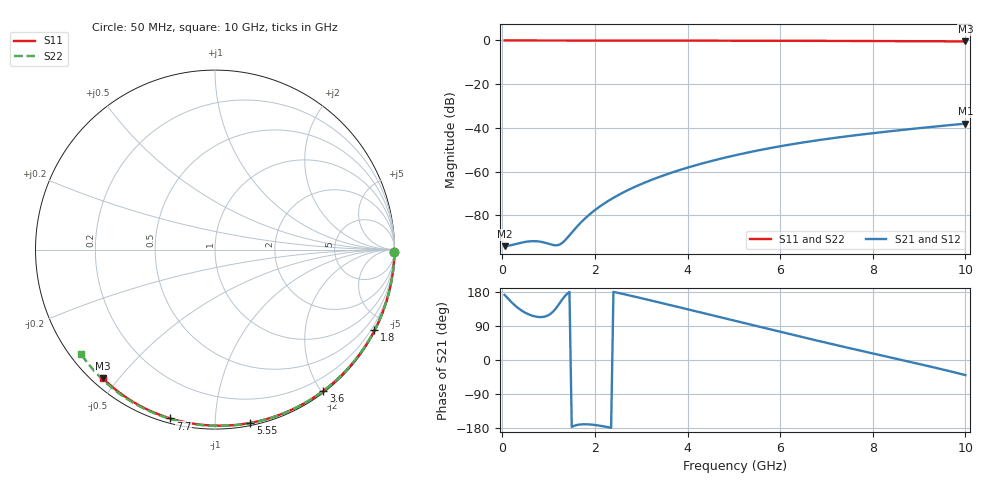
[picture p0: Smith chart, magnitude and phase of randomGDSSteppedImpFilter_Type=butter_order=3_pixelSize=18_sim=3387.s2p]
! freq	dB(S11)	phase(S11)	dB(S12)	phase(S12)
!  dB(S21)	phase(S21)	dB(S22)	phase(S22)
!S-par simulation data
#  GHz  S  DB  R 50
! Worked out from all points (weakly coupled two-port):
!   200 points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, 50 MHz to 10 GHz, reference 50 ohm
!   highest |S21| = -38.07 dB at 10 GHz (marker M1); lowest = -94.1 dB at 50 MHz (marker M2)
!   lowest |S11| = -0.4 dB at 10 GHz (marker M3), VSWR 39.38, Z = 1.53 - j22.7 ohm
!   |S11| at or under -10 dB: nowhere
!   |S22| runs from -0.5 to 0.0 dB; largest |S21 - S12| = 0
!   S11 on the Smith chart (normalised r, x): 50 MHz: open; 1.8 GHz: 0.04, -4.19; 3.6 GHz: 0.02, -2.03; 5.55 GHz: 0.02, -1.22; 7.7 GHz: 0.02, -0.77; 10 GHz: 0.03, -0.45
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0.05  -0.00 -0.8  -94.12 171.7  -94.12 171.7  -0.00 -0.8
0.45  -0.01 -6.8  -92.35 128.0  -92.35 128.0  -0.01 -7.4
0.9  -0.02 -13.6  -92.42 114.1  -92.42 114.1  -0.02 -14.7
1.3  -0.02 -19.5  -92.54 160.7  -92.54 160.7  -0.03 -21.2
1.75  -0.03 -26.1  -82.18 -169.6  -82.18 -169.6  -0.04 -28.3
1.8  -0.03 -26.9  -81.18 -169.5  -81.18 -169.5  -0.04 -29.1
1.85  -0.04 -27.6  -80.23 -169.8  -80.23 -169.8  -0.04 -29.9
2.2  -0.04 -32.7  -74.62 -175.4  -74.62 -175.4  -0.04 -35.4
2.55  -0.05 -37.7  -70.22 175.8  -70.22 175.8  -0.05 -40.9
2.95  -0.06 -43.4  -66.16 164.6  -66.16 164.6  -0.06 -47.0
3.4  -0.07 -49.7  -62.37 151.6  -62.37 151.6  -0.07 -53.9
3.6  -0.07 -52.5  -60.89 145.7  -60.89 145.7  -0.08 -56.9
3.9  -0.08 -56.6  -58.83 136.9  -58.83 136.9  -0.08 -61.3
4.3  -0.09 -62.1  -56.38 125.1  -56.38 125.1  -0.09 -67.1
5.05  -0.11 -72.0  -52.43 102.8  -52.43 102.8  -0.12 -77.8
5.55  -0.13 -78.5  -50.20 88.0  -50.20 88.0  -0.14 -84.8
6.1  -0.15 -85.4  -48.04 71.7  -48.04 71.7  -0.16 -92.3
6.7  -0.18 -92.8  -46.01 54.1  -46.01 54.1  -0.19 -100.2
7.7  -0.24 -104.8  -43.18 25.6  -43.18 25.6  -0.26 -113.2
8.35  -0.28 -112.3  -41.60 7.6  -41.60 7.6  -0.31 -121.5
9.2  -0.35 -122.0  -39.70 -16.1  -39.70 -16.1  -0.39 -132.1
10  -0.44 -131.1  -38.07 -39.8  -38.07 -39.8  -0.48 -142.2
